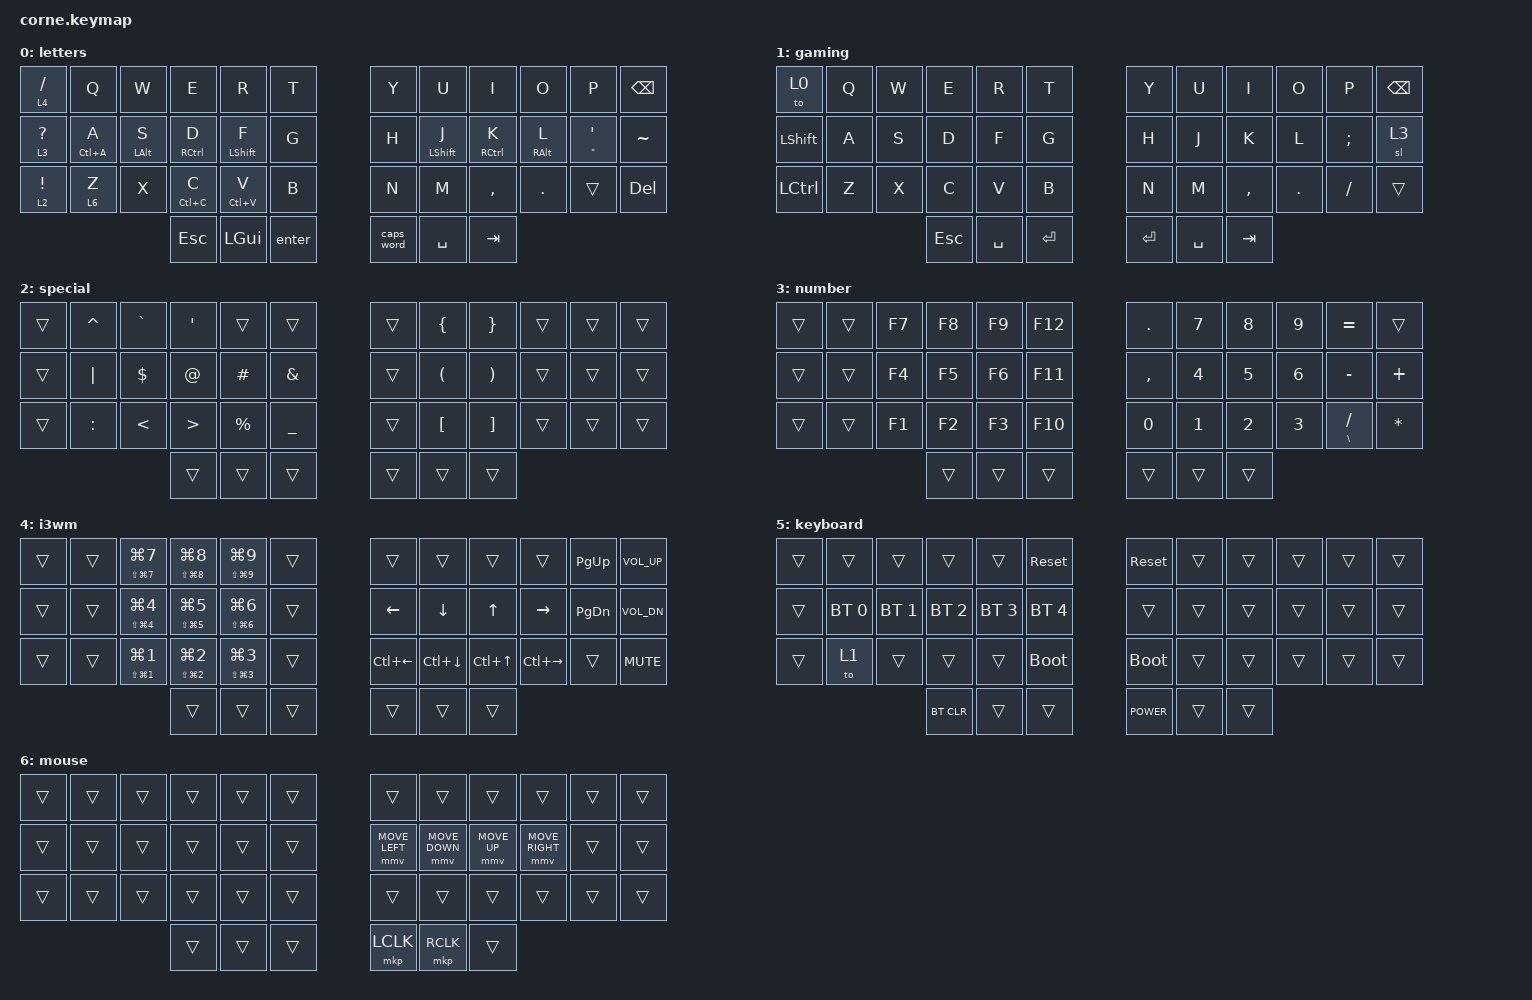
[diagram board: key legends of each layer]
/*
 * Copyright (c) 2020 The ZMK Contributors
 *
 * SPDX-License-Identifier: MIT
 */

#include <behaviors.dtsi>
#include <dt-bindings/zmk/bt.h>
#include <dt-bindings/zmk/keys.h>
#include <dt-bindings/zmk/mouse.h>

&mt {
    flavor = "tap-preferred";
    quick-tap-ms = <200>;
};

&caps_word { continue-list = <UNDERSCORE BACKSPACE DELETE SPACE CARET GRAVE TILDE SQT DOT COMMA>; };

&lt { quick-tap-ms = <200>; };

/ {
    behaviors {
        enter: enter {
            compatible = "zmk,behavior-tap-dance";
            label = "ENTER";
            #binding-cells = <0>;
            bindings = <&kp ENTER>, <&kp LC(ENTER)>;
        };

        backspace: backspace {
            compatible = "zmk,behavior-tap-dance";
            label = "BACKSPACE";
            #binding-cells = <0>;
            bindings = <&kp LC(BACKSPACE)>, <&kp BACKSPACE>;
        };

        sticky_layer: sticky_layer {
            compatible = "zmk,behavior-sticky-key";
            label = "STICKY_LAYER";
            bindings = <&mo>;
            #binding-cells = <1>;
            release-after-ms = <1000>;
        };
    };

    combos {
        compatible = "zmk,combos";

        semicolon {
            bindings = <&kp SEMICOLON>;
            key-positions = <33 32>;
        };

        cedilha {
            bindings = <&cedilha>;
            key-positions = <27 20>;
        };

        a_tilde {
            bindings = <&a_tilde>;
            key-positions = <13 20>;
        };

        o_tilde {
            bindings = <&o_tilde>;
            key-positions = <15 9>;
        };

        i_agudo {
            bindings = <&i_agudo>;
            key-positions = <8 16>;
        };

        a_agudo {
            bindings = <&a_agudo>;
            key-positions = <13 19>;
        };

        e_agudo {
            bindings = <&e_agudo>;
            key-positions = <19 3>;
        };

        o_agudo {
            bindings = <&o_agudo>;
            key-positions = <9 16>;
        };

        u_agudo {
            bindings = <&u_agudo>;
            key-positions = <16 7>;
        };

        a_grave {
            bindings = <&a_grave>;
            key-positions = <13 22>;
        };

        e_chapeu {
            bindings = <&e_chapeu>;
            key-positions = <3 21>;
        };

        o_chapeu {
            bindings = <&o_chapeu>;
            key-positions = <9 14>;
        };

        a_chapeu {
            bindings = <&a_chapeu>;
            key-positions = <13 21>;
        };

        atilde2 {
            bindings = <&a_tilde>;
            key-positions = <13 15>;
        };

        otilde2 {
            bindings = <&o_tilde>;
            key-positions = <9 20>;
        };

        iagudo2 {
            bindings = <&i_agudo>;
            key-positions = <8 19>;
        };

        aagudo2 {
            bindings = <&a_agudo>;
            key-positions = <13 16>;
        };

        eagudo2 {
            bindings = <&e_agudo>;
            key-positions = <3 16>;
        };

        oacudo2 {
            bindings = <&o_agudo>;
            key-positions = <9 19>;
        };

        uagudo2 {
            bindings = <&u_agudo>;
            key-positions = <7 19>;
        };

        agrave2 {
            bindings = <&a_grave>;
            key-positions = <13 17>;
        };

        echapeu2 {
            bindings = <&e_chapeu>;
            key-positions = <3 14>;
        };

        ochapeu2 {
            bindings = <&o_chapeu>;
            key-positions = <9 21>;
        };

        achapeu2 {
            bindings = <&a_chapeu>;
            key-positions = <13 14>;
        };

        cedilha2 {
            bindings = <&cedilha>;
            key-positions = <27 15>;
        };
    };

    macros {
        cedilha: cedilha {
            compatible = "zmk,behavior-macro";
            #binding-cells = <0>;
            bindings = <&kp RA(COMMA)>;
            label = "CEDILHA";
        };

        a_tilde: a_tilde {
            compatible = "zmk,behavior-macro";
            #binding-cells = <0>;
            bindings = <&kp TILDE &kp A>;
            label = "A_TILDE";
        };

        o_tilde: o_tilde {
            compatible = "zmk,behavior-macro";
            #binding-cells = <0>;
            bindings = <&kp TILDE &kp O>;
            label = "O_TILDE";
        };

        a_agudo: a_agudo {
            compatible = "zmk,behavior-macro";
            #binding-cells = <0>;
            bindings = <&kp SINGLE_QUOTE &kp A>;
            label = "A_AGUDO";
        };

        a_grave: a_grave {
            compatible = "zmk,behavior-macro";
            #binding-cells = <0>;
            bindings = <&kp GRAVE &kp A>;
            label = "A_GRAVE";
        };

        e_agudo: e_agudo {
            compatible = "zmk,behavior-macro";
            #binding-cells = <0>;
            bindings = <&kp SINGLE_QUOTE &kp E>;
            label = "E_AGUDO";
        };

        i_agudo: i_agudo {
            compatible = "zmk,behavior-macro";
            #binding-cells = <0>;
            bindings = <&kp SINGLE_QUOTE &kp I>;
            label = "I_AGUDO";
        };

        o_agudo: o_agudo {
            compatible = "zmk,behavior-macro";
            #binding-cells = <0>;
            bindings = <&kp SINGLE_QUOTE &kp O>;
            label = "O_AGUDO";
        };

        u_agudo: u_agudo {
            compatible = "zmk,behavior-macro";
            #binding-cells = <0>;
            bindings = <&kp SINGLE_QUOTE &kp U>;
            label = "U_AGUDO";
        };

        e_chapeu: e_chapeu {
            compatible = "zmk,behavior-macro";
            #binding-cells = <0>;
            bindings = <&kp CARET &kp E>;
            label = "E_CHAPEU";
        };

        o_chapeu: o_chapeu {
            compatible = "zmk,behavior-macro";
            #binding-cells = <0>;
            bindings = <&kp CARET &kp O>;
            label = "O_CHAPEU";
        };

        a_chapeu: a_chapeu {
            compatible = "zmk,behavior-macro";
            #binding-cells = <0>;
            bindings = <&kp CARET &kp A>;
            label = "A_CHAPEU";
        };
    };

    keymap {
        compatible = "zmk,keymap";

        letters {
            // -----------------------------------------------------------------------------------------
            // |  TAB |  Q  |  W  |  E  |  R  |  T  |   |  Y  |  U   |  I  |  O  |  P  | BKSP |
            // | CTRL |  A  |  S  |  D  |  F  |  G  |   |  H  |  J   |  K  |  L  |  ;  |  '   |
            // | SHFT |  Z  |  X  |  C  |  V  |  B  |   |  N  |  M   |  ,  |  .  |  /  | ESC  |
            //                    | GUI | LWR | SPC |   | ENT | RSE  | ALT |

            bindings = <
&lt 4 SLASH        &kp Q        &kp W           &kp E        &kp R             &kp T     &kp Y       &kp U             &kp I        &kp O            &kp P                           &kp BACKSPACE
&lt 3 QUESTION     &mt LC(A) A  &mt LEFT_ALT S  &mt RCTRL D  &mt LEFT_SHIFT F  &kp G     &kp H       &mt LEFT_SHIFT J  &mt RCTRL K  &mt RIGHT_ALT L  &mt DOUBLE_QUOTES SINGLE_QUOTE  &kp TILDE
&lt 2 EXCLAMATION  &lt 6 Z      &kp X           &mt LC(C) C  &mt LC(V) V       &kp B     &kp N       &kp M             &kp COMMA    &kp DOT          &trans                          &kp DELETE
                                                &kp ESC      &kp LGUI          &enter    &caps_word  &kp SPACE         &kp TAB
            >;
        };

        gaming {
            bindings = <
&to 0      &kp Q  &kp W  &kp E    &kp R      &kp T        &kp Y      &kp U      &kp I      &kp O    &kp P     &kp BACKSPACE
&kp LSHFT  &kp A  &kp S  &kp D    &kp F      &kp G        &kp H      &kp J      &kp K      &kp L    &kp SEMI  &sl 3
&kp LCTRL  &kp Z  &kp X  &kp C    &kp V      &kp B        &kp N      &kp M      &kp COMMA  &kp DOT  &kp FSLH  &trans
                         &kp ESC  &kp SPACE  &kp ENTER    &kp ENTER  &kp SPACE  &kp TAB
            >;
        };

        special {
            // -----------------------------------------------------------------------------------------
            // |  TAB |  !  |  @  |  #  |  $  |  %  |   |  ^  |  &  |  *  |  (  |  )  | BKSP |
            // | CTRL |     |     |     |     |     |   |  -  |  =  |  [  |  ]  |  \  |  `   |
            // | SHFT |     |     |     |     |     |   |  _  |  +  |  {  |  }  | "|" |  ~   |
            //                    | GUI |     | SPC |   | ENT |     | ALT |

            bindings = <
&trans  &kp CARET  &kp GRAVE      &kp APOS          &trans       &trans           &trans  &kp LEFT_BRACE  &kp RBRC  &trans  &trans  &trans
&trans  &kp PIPE   &kp DOLLAR     &kp AT_SIGN       &kp HASH     &kp AMPERSAND    &trans  &kp LPAR        &kp RPAR  &trans  &trans  &trans
&trans  &kp COLON  &kp LESS_THAN  &kp GREATER_THAN  &kp PERCENT  &kp UNDER        &trans  &kp LBKT        &kp RBKT  &trans  &trans  &trans
                                  &trans            &trans       &trans           &trans  &trans          &trans
            >;
        };

        number {
            bindings = <
&trans  &trans  &kp F7  &kp F8  &kp F9  &kp F12    &kp DOT    &kp N7        &kp N8        &kp N9        &kp EQUAL            &trans
&trans  &trans  &kp F4  &kp F5  &kp F6  &kp F11    &kp COMMA  &kp NUMBER_4  &kp NUMBER_5  &kp NUMBER_6  &kp MINUS            &kp PLUS
&trans  &trans  &kp F1  &kp F2  &kp F3  &kp F10    &kp N0     &kp NUMBER_1  &kp NUMBER_2  &kp NUMBER_3  &mt BACKSLASH SLASH  &kp STAR
                        &trans  &trans  &trans     &trans     &trans        &trans
            >;
        };

        i3wm {
            bindings = <
&trans  &trans  &mt LS(LG(N7)) LG(N7)  &mt LS(LG(N8)) LG(N8)  &mt LS(LG(N9)) LG(N9)  &trans    &trans        &trans        &trans      &trans         &kp PG_UP      &kp C_VOLUME_UP
&trans  &trans  &mt LS(LG(N4)) LG(N4)  &mt LS(LG(N5)) LG(N5)  &mt LS(LG(N6)) LG(N6)  &trans    &kp LEFT      &kp DOWN      &kp UP      &kp RIGHT      &kp PAGE_DOWN  &kp C_VOL_DN
&trans  &trans  &mt LS(LG(N1)) LG(N1)  &mt LS(LG(N2)) LG(N2)  &mt LS(LG(N3)) LG(N3)  &trans    &kp LC(LEFT)  &kp LC(DOWN)  &kp LC(UP)  &kp LC(RIGHT)  &trans         &kp K_MUTE
                                       &trans                 &trans                 &trans    &trans        &trans        &trans
            >;
        };

        keyboard {
            // -----------------------------------------------------------------------------------------
            // |  TAB |  1  |  2  |  3  |  4  |  5  |   |  6  |  7  |  8  |  9  |  0  | BKSP |
            // | BTCLR| BT1 | BT2 | BT3 | BT4 | BT5 |   | LFT | DWN |  UP | RGT |     |      |
            // | SHFT |     |     |     |     |     |   |     |     |     |     |     |      |
            //                    | GUI |     | SPC |   | ENT |     | ALT |

            bindings = <
&trans  &trans        &trans        &trans        &trans        &sys_reset      &sys_reset   &trans  &trans  &trans  &trans  &trans
&trans  &bt BT_SEL 0  &bt BT_SEL 1  &bt BT_SEL 2  &bt BT_SEL 3  &bt BT_SEL 4    &trans       &trans  &trans  &trans  &trans  &trans
&trans  &to 1         &trans        &trans        &trans        &bootloader     &bootloader  &trans  &trans  &trans  &trans  &trans
                                    &bt BT_CLR    &trans        &trans          &kp K_POWER  &trans  &trans
            >;
        };

        mouse {
            bindings = <
&trans  &trans  &trans  &trans  &trans  &trans    &trans          &trans          &trans        &trans           &trans  &trans
&trans  &trans  &trans  &trans  &trans  &trans    &mmv MOVE_LEFT  &mmv MOVE_DOWN  &mmv MOVE_UP  &mmv MOVE_RIGHT  &trans  &trans
&trans  &trans  &trans  &trans  &trans  &trans    &trans          &trans          &trans        &trans           &trans  &trans
                        &trans  &trans  &trans    &mkp LCLK       &mkp RCLK       &trans
            >;
        };
    };

    conditional_layers {
        compatible = "zmk,conditional-layers";

        keyboard {
            if-layers = <2 3>;
            then-layer = <5>;
        };
    };
};
